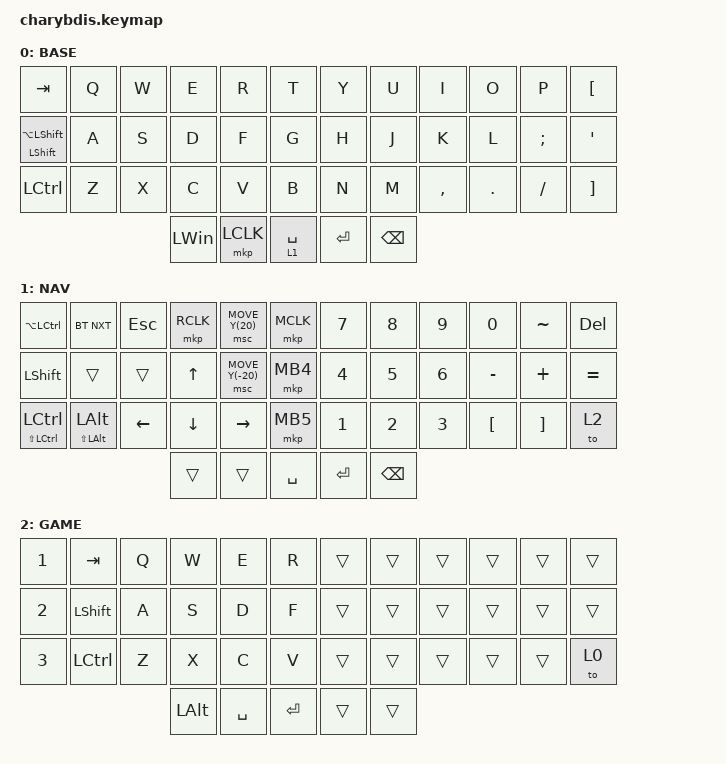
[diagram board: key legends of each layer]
#include <dt-bindings/zmk/mouse.h>
#include <input/processors.dtsi>
#include <dt-bindings/zmk/input_transform.h>
#include <behaviors.dtsi>
#include <dt-bindings/zmk/bt.h>
#include <dt-bindings/zmk/keys.h>
#include <dt-bindings/zmk/pointing.h>

#define U_TAPPING_TERM 200

/ {
    trackball_listener {
        compatible = "zmk,input-listener";
        device = <&trackball>;
        input-processors = <&zip_xy_scaler 1 2>, <&zip_temp_layer 4 400>;

        // Switch to auto-mouse temp layer, decrease sensitivity

        scroll {
            layers = <5>; // SCROLL
            input-processors =
                <&zip_xy_scaler 1 5>,
                <&zip_xy_to_scroll_mapper>,
                <&zip_scroll_transform (INPUT_TRANSFORM_Y_INVERT)>;
        };
    };

    combos { compatible = "zmk,combos"; };

    keymap {
        compatible = "zmk,keymap";

        BASE {
            bindings = <
&kp TAB                        &kp Q  &kp W  &kp E         &kp R      &kp T          &kp Y      &kp U          &kp I      &kp O    &kp P          &kp LEFT_BRACKET
&mt LEFT_SHIFT LA(LEFT_SHIFT)  &kp A  &kp S  &kp D         &kp F      &kp G          &kp H      &kp J          &kp K      &kp L    &kp SEMICOLON  &kp APOSTROPHE
&kp LEFT_CONTROL               &kp Z  &kp X  &kp C         &kp V      &kp B          &kp N      &kp M          &kp COMMA  &kp DOT  &kp FSLH       &kp RIGHT_BRACKET
                                             &kp LEFT_WIN  &mkp LCLK  &lt 1 SPACE    &kp ENTER  &kp BACKSPACE
            >;
        };

        NAV {
            bindings = <
&kp LA(LEFT_CONTROL)               &bt BT_NXT                 &kp ESCAPE  &mkp RCLK       &msc MOVE_Y(20)   &mkp MCLK    &kp N7   &kp N8         &kp N9        &kp N0            &kp TILDE          &kp DELETE
&kp LEFT_SHIFT                     &trans                     &trans      &kp UP          &msc MOVE_Y(-20)  &mkp MB4     &kp N4   &kp N5         &kp NUMBER_6  &kp MINUS         &kp PLUS           &kp EQUAL
&mt LS(LEFT_CONTROL) LEFT_CONTROL  &mt LS(LEFT_ALT) LEFT_ALT  &kp LEFT    &kp DOWN_ARROW  &kp RIGHT_ARROW   &mkp MB5     &kp N1   &kp N2         &kp N3        &kp LEFT_BRACKET  &kp RIGHT_BRACKET  &to 2
                                                                          &trans          &trans            &kp SPACE    &kp RET  &kp BACKSPACE
            >;
        };

        GAME {
            bindings = <
&kp NUMBER_1  &kp TAB           &kp Q  &kp W         &kp E      &kp R      &trans  &trans  &trans  &trans  &trans  &trans
&kp NUMBER_2  &kp LEFT_SHIFT    &kp A  &kp S         &kp D      &kp F      &trans  &trans  &trans  &trans  &trans  &trans
&kp NUMBER_3  &kp LEFT_CONTROL  &kp Z  &kp X         &kp C      &kp V      &trans  &trans  &trans  &trans  &trans  &to 0
                                       &kp LEFT_ALT  &kp SPACE  &kp RET    &trans  &trans
            >;
        };
    };
};
